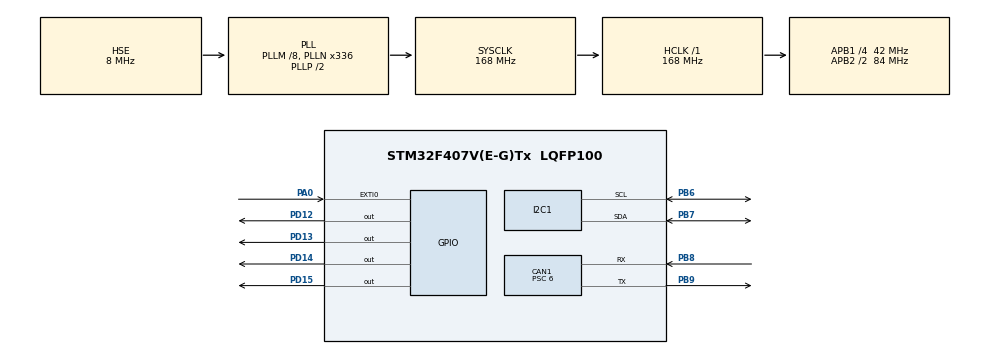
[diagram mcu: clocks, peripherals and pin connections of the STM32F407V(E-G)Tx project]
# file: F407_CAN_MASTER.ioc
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CAN1.BS1=CAN_BS1_11TQ
CAN1.BS2=CAN_BS2_2TQ
CAN1.CalculateBaudRate=500000
CAN1.CalculateTimeBit=1999.99
CAN1.CalculateTimeQuantum=142.85714285714286
CAN1.Prescaler=6
I2C1.I2C_Mode=I2C_Fast
Mcu.Family=STM32F4
Mcu.Name=STM32F407V(E-G)Tx
Mcu.Package=LQFP100
NVIC.CAN1_RX1_IRQn=true\:0\:1\:false\:false\:true\:true\:true
NVIC.PriorityGroup=NVIC_PRIORITYGROUP_0
NVIC.TIM1_UP_TIM10_IRQn=true\:0\:0\:false\:false\:true\:false\:true
NVIC.TimeBase=TIM1_UP_TIM10_IRQn
NVIC.TimeBaseIP=TIM1
PA0-WKUP.Signal=GPXTI0
PB6.Mode=I2C
PB6.Signal=I2C1_SCL
PB7.Mode=I2C
PB7.Signal=I2C1_SDA
PB8.Mode=CAN_Activate
PB8.Signal=CAN1_RX
PB9.Mode=CAN_Activate
PB9.Signal=CAN1_TX
PD12.Signal=GPIO_Output
PD13.Signal=GPIO_Output
PD14.Signal=GPIO_Output
PD15.Signal=GPIO_Output
PH0-OSC_IN.Mode=HSE-External-Oscillator
PH0-OSC_IN.Signal=RCC_OSC_IN
PH1-OSC_OUT.Mode=HSE-External-Oscillator
PH1-OSC_OUT.Signal=RCC_OSC_OUT
ProjectManager.HeapSize=0x200
ProjectManager.StackSize=0x400
ProjectManager.TargetToolchain=STM32CubeIDE
RCC.48MHZClocksFreq_Value=48000000
RCC.AHBFreq_Value=168000000
RCC.APB1CLKDivider=RCC_HCLK_DIV4
RCC.APB1Freq_Value=42000000
RCC.APB1TimFreq_Value=84000000
RCC.APB2CLKDivider=RCC_HCLK_DIV2
RCC.APB2Freq_Value=84000000
RCC.APB2TimFreq_Value=168000000
RCC.CortexFreq_Value=168000000
RCC.HCLKFreq_Value=168000000
RCC.HSE_VALUE=8000000
RCC.HSI_VALUE=16000000
RCC.LSE_VALUE=32768
RCC.PLLM=8
RCC.PLLN=336
RCC.PLLQ=7
RCC.PLLSourceVirtual=RCC_PLLSOURCE_HSE
RCC.SYSCLKFreq_VALUE=168000000
RCC.SYSCLKSource=RCC_SYSCLKSOURCE_PLLCLK
RCC.VCOOutputFreq_Value=336000000
VP_SYS_VS_tim1.Mode=TIM1
board=STM32F407G-DISC1

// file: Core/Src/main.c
/* USER CODE BEGIN Header */
/**
  ******************************************************************************
  * @file           : main.c
  * @brief          : Main program body
  ******************************************************************************
  * @attention
  *
  * <h2><center>&copy; Copyright (c) 2021 STMicroelectronics.
  * All rights reserved.</center></h2>
  *
  * This software component is licensed by ST under Ultimate Liberty license
  * SLA0044, the "License"; You may not use this file except in compliance with
  * the License. You may obtain a copy of the License at:
  *                             www.st.com/SLA0044
  *
  ******************************************************************************
  */
/* USER CODE END Header */
#include "main.h"

/* USER CODE BEGIN Includes */

#include "LCD.h"
#include <string.h>			/* For memcpy and memcmp functions */

/* USER CODE END Includes */

CAN_HandleTypeDef hcan1;

I2C_HandleTypeDef hi2c1;

/* USER CODE BEGIN PV */

/* CAN Variables */
CAN_TxHeaderTypeDef TxHeader;
CAN_RxHeaderTypeDef RxHeader;
uint8_t TxData[8];
uint8_t RxData[8];
uint32_t TxMailbox;

uint8_t idNumber;
uint8_t F103TxData;
uint8_t F446TxData;

/* DHT11 Variable */
uint8_t Temperature;
uint8_t Humidity;

/* HCSR04 Variable */
uint16_t Distance;
/* USER CODE END PV */

void SystemClock_Config(void);
static void MX_GPIO_Init(void);
static void MX_I2C1_Init(void);
static void MX_CAN1_Init(void);
/* USER CODE BEGIN PFP */

static void F446_Data_Print(uint8_t Temp, uint8_t Humidity);

/* USER CODE END PFP */

/* USER CODE BEGIN 0 */

void HAL_CAN_RxFifo1MsgPendingCallback(CAN_HandleTypeDef *hcan)
{
	if(HAL_CAN_GetRxMessage(&hcan1, CAN_RX_FIFO1, &RxHeader, RxData) != HAL_OK)
	{
		Error_Handler();
	}

	if(RxHeader.StdId == 0x100 || RxHeader.StdId == 0x101)
	{
	    if(RxHeader.StdId == 0x100)
	    {
	    	F103TxData = 1;
	    	F446TxData = 0;
	    }

	    if(RxHeader.StdId == 0x101)
	    {
	    	F103TxData = 0;
	    	F446TxData = 1;
	    }
	}

}
/* USER CODE END 0 */

int main(void)
{

  /* MCU Configuration--------------------------------------------------------*/

  /* Reset of all peripherals, Initializes the Flash interface and the Systick. */
  HAL_Init();

  /* Configure the system clock */
  SystemClock_Config();

  /* Initialize all configured peripherals */
  MX_GPIO_Init();
  MX_I2C1_Init();
  MX_CAN1_Init();
  /* USER CODE BEGIN 2 */

  LCD_Init();

  /* CAN Communication Start */
  if(HAL_CAN_Start(&hcan1) != HAL_OK)
  {
	  Error_Handler();
  }

  /* CAN Interrupt Enable */
  if(HAL_CAN_ActivateNotification(&hcan1, CAN_IT_RX_FIFO1_MSG_PENDING) != HAL_OK)
  {
	  Error_Handler();
  }

  /* USER CODE END 2 */

  /* Infinite loop */
  /* USER CODE BEGIN WHILE */
  idNumber = 0x10;
  memcpy(TxData,&idNumber,sizeof(idNumber)); 												/* Send data Slave F103 MCU */
  if(HAL_CAN_AddTxMessage(&hcan1, &TxHeader, TxData, &TxMailbox) != HAL_OK)
	  Error_Handler();

  while (1)
  {
    /* USER CODE END WHILE */

    /* USER CODE BEGIN 3 */

	  if(F103TxData || F446TxData)
	  {
		  if(F103TxData)
		  {
			  Distance = RxData[0] + RxData[1];

			  LCD_SetCursor(0, 0);
			  LCD_Printf("Dist");
			  LCD_SetCursor(1, 1);
			  HAL_Delay(10);
			  LCD_Printf("%d   ",Distance);

			  if(Distance < 50)
				  HAL_GPIO_WritePin(GPIOD, GPIO_PIN_12|GPIO_PIN_13, GPIO_PIN_SET);
			  else
				  HAL_GPIO_WritePin(GPIOD, GPIO_PIN_12|GPIO_PIN_13, GPIO_PIN_RESET);

			  idNumber = 0x11;
			  memcpy(TxData,&idNumber,sizeof(idNumber)); 									/* Send data Slave F446 MCU */
			  if(HAL_CAN_AddTxMessage(&hcan1, &TxHeader, TxData, &TxMailbox) != HAL_OK)
				  Error_Handler();
		  }

		  else if(F446TxData)
		  {
			  Temperature = RxData[0];
			  Humidity = RxData[1];

			  F446_Data_Print(Temperature, Humidity);

			  if(Humidity > 60)			/* it is easy increase humidity value, it can be temperature value too */
				  HAL_GPIO_WritePin(GPIOD, GPIO_PIN_14|GPIO_PIN_15, GPIO_PIN_SET);
			  else
				  HAL_GPIO_WritePin(GPIOD, GPIO_PIN_14|GPIO_PIN_15, GPIO_PIN_RESET);

			  idNumber = 0x10;
			  memcpy(TxData,&idNumber,sizeof(idNumber)); 									/* Send data Slave F103 MCU */
			  if(HAL_CAN_AddTxMessage(&hcan1, &TxHeader, TxData, &TxMailbox) != HAL_OK)
				  Error_Handler();
		  }

		  F103TxData = F446TxData = 0;

		  HAL_Delay(200);

	  }
  }

  /* USER CODE END 3 */
}

void SystemClock_Config(void)
{
  RCC_OscInitTypeDef RCC_OscInitStruct = {0};
  RCC_ClkInitTypeDef RCC_ClkInitStruct = {0};

  /** Configure the main internal regulator output voltage
  */
  __HAL_RCC_PWR_CLK_ENABLE();
  __HAL_PWR_VOLTAGESCALING_CONFIG(PWR_REGULATOR_VOLTAGE_SCALE1);
  /** Initializes the RCC Oscillators according to the specified parameters
  * in the RCC_OscInitTypeDef structure.
  */
  RCC_OscInitStruct.OscillatorType = RCC_OSCILLATORTYPE_HSE;
  RCC_OscInitStruct.HSEState = RCC_HSE_ON;
  RCC_OscInitStruct.PLL.PLLState = RCC_PLL_ON;
  RCC_OscInitStruct.PLL.PLLSource = RCC_PLLSOURCE_HSE;
  RCC_OscInitStruct.PLL.PLLM = 8;
  RCC_OscInitStruct.PLL.PLLN = 336;
  RCC_OscInitStruct.PLL.PLLP = RCC_PLLP_DIV2;
  RCC_OscInitStruct.PLL.PLLQ = 7;
  if (HAL_RCC_OscConfig(&RCC_OscInitStruct) != HAL_OK)
  {
    Error_Handler();
  }
  /** Initializes the CPU, AHB and APB buses clocks
  */
  RCC_ClkInitStruct.ClockType = RCC_CLOCKTYPE_HCLK|RCC_CLOCKTYPE_SYSCLK
                              |RCC_CLOCKTYPE_PCLK1|RCC_CLOCKTYPE_PCLK2;
  RCC_ClkInitStruct.SYSCLKSource = RCC_SYSCLKSOURCE_PLLCLK;
  RCC_ClkInitStruct.AHBCLKDivider = RCC_SYSCLK_DIV1;
  RCC_ClkInitStruct.APB1CLKDivider = RCC_HCLK_DIV4;
  RCC_ClkInitStruct.APB2CLKDivider = RCC_HCLK_DIV2;

  if (HAL_RCC_ClockConfig(&RCC_ClkInitStruct, FLASH_LATENCY_5) != HAL_OK)
  {
    Error_Handler();
  }
}

static void MX_CAN1_Init(void)
{

  hcan1.Instance = CAN1;
  hcan1.Init.Prescaler = 6;
  hcan1.Init.Mode = CAN_MODE_NORMAL;
  hcan1.Init.SyncJumpWidth = CAN_SJW_1TQ;
  hcan1.Init.TimeSeg1 = CAN_BS1_11TQ;
  hcan1.Init.TimeSeg2 = CAN_BS2_2TQ;
  hcan1.Init.TimeTriggeredMode = DISABLE;
  hcan1.Init.AutoBusOff = DISABLE;
  hcan1.Init.AutoWakeUp = DISABLE;
  hcan1.Init.AutoRetransmission = DISABLE;
  hcan1.Init.ReceiveFifoLocked = DISABLE;
  hcan1.Init.TransmitFifoPriority = DISABLE;
  if (HAL_CAN_Init(&hcan1) != HAL_OK)
  {
    Error_Handler();
  }
  /* USER CODE BEGIN CAN1_Init 2 */

  TxHeader.DLC = 2;
  TxHeader.IDE = CAN_ID_STD;
  TxHeader.RTR = CAN_RTR_DATA;
  TxHeader.StdId = 0x407;

  /* CAN Filter Configuration(No Filter) */
//   CAN_FilterTypeDef FilterConfig;
//
//   FilterConfig.FilterActivation = CAN_FILTER_ENABLE;
//   FilterConfig.FilterBank = 1;
//   FilterConfig.FilterFIFOAssignment = CAN_FILTER_FIFO1;
//   FilterConfig.FilterIdHigh = 0x0000 << 5;
//   FilterConfig.FilterIdLow = 0x0000;
//   FilterConfig.FilterMaskIdHigh = 0x0000 << 5;
//   FilterConfig.FilterMaskIdLow = 0x0000;
//   FilterConfig.FilterMode = CAN_FILTERMODE_IDMASK;
//   FilterConfig.FilterScale = CAN_FILTERSCALE_32BIT;
//
//   HAL_CAN_ConfigFilter(&hcan1, &FilterConfig);

   /* CAN Filter Configuration(Filter) StdId between 0x100 and 0x101 are accepted. */
   CAN_FilterTypeDef FilterConfig;

   FilterConfig.FilterActivation = CAN_FILTER_ENABLE;
   FilterConfig.FilterBank = 8;
   FilterConfig.FilterFIFOAssignment = CAN_FILTER_FIFO1;
   FilterConfig.FilterIdHigh = 0x0100 << 5;
   FilterConfig.FilterIdLow = 0x0000;
   FilterConfig.FilterMaskIdHigh = 0xFFFE << 5;
   FilterConfig.FilterMaskIdLow = 0x0000;
   FilterConfig.FilterMode = CAN_FILTERMODE_IDMASK;
   FilterConfig.FilterScale = CAN_FILTERSCALE_32BIT;

   HAL_CAN_ConfigFilter(&hcan1, &FilterConfig);

  /* USER CODE END CAN1_Init 2 */

}

static void MX_I2C1_Init(void)
{

  hi2c1.Instance = I2C1;
  hi2c1.Init.ClockSpeed = 400000;
  hi2c1.Init.DutyCycle = I2C_DUTYCYCLE_2;
  hi2c1.Init.OwnAddress1 = 0;
  hi2c1.Init.AddressingMode = I2C_ADDRESSINGMODE_7BIT;
  hi2c1.Init.DualAddressMode = I2C_DUALADDRESS_DISABLE;
  hi2c1.Init.OwnAddress2 = 0;
  hi2c1.Init.GeneralCallMode = I2C_GENERALCALL_DISABLE;
  hi2c1.Init.NoStretchMode = I2C_NOSTRETCH_DISABLE;
  if (HAL_I2C_Init(&hi2c1) != HAL_OK)
  {
    Error_Handler();
  }

}

static void MX_GPIO_Init(void)
{
  GPIO_InitTypeDef GPIO_InitStruct = {0};

  /* GPIO Ports Clock Enable */
  __HAL_RCC_GPIOH_CLK_ENABLE();
  __HAL_RCC_GPIOA_CLK_ENABLE();
  __HAL_RCC_GPIOD_CLK_ENABLE();
  __HAL_RCC_GPIOB_CLK_ENABLE();

  /*Configure GPIO pin Output Level */
  HAL_GPIO_WritePin(GPIOD, GPIO_PIN_12|GPIO_PIN_13|GPIO_PIN_14|GPIO_PIN_15, GPIO_PIN_RESET);

  /*Configure GPIO pin : PA0 */
  GPIO_InitStruct.Pin = GPIO_PIN_0;
  GPIO_InitStruct.Mode = GPIO_MODE_IT_RISING;
  GPIO_InitStruct.Pull = GPIO_NOPULL;
  HAL_GPIO_Init(GPIOA, &GPIO_InitStruct);

  /*Configure GPIO pins : PD12 PD13 PD14 PD15 */
  GPIO_InitStruct.Pin = GPIO_PIN_12|GPIO_PIN_13|GPIO_PIN_14|GPIO_PIN_15;
  GPIO_InitStruct.Mode = GPIO_MODE_OUTPUT_PP;
  GPIO_InitStruct.Pull = GPIO_NOPULL;
  GPIO_InitStruct.Speed = GPIO_SPEED_FREQ_LOW;
  HAL_GPIO_Init(GPIOD, &GPIO_InitStruct);

}

/* USER CODE BEGIN 4 */

static void F446_Data_Print(uint8_t Temp, uint8_t Humidity)
{
	  LCD_SetCursor(0, 6);
	  LCD_Printf("Temp");
	  LCD_SetCursor(1, 7);
	  LCD_Printf("%d",Temp);
	  LCD_SetCursor(0, 12);
	  LCD_Printf("Humi");
	  LCD_SetCursor(1, 13);
	  LCD_Printf("%d",Humidity);
}
/* USER CODE END 4 */

void HAL_TIM_PeriodElapsedCallback(TIM_HandleTypeDef *htim)
{
  if (htim->Instance == TIM1) {
    HAL_IncTick();
  }
}

void Error_Handler(void)
{
  __disable_irq();
  while (1)
  {
  }
}

/************************ (C) COPYRIGHT STMicroelectronics *****END OF FILE****/
